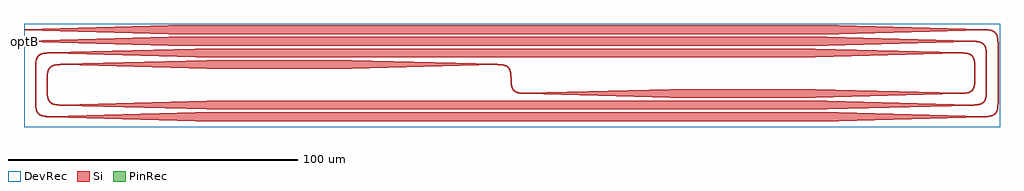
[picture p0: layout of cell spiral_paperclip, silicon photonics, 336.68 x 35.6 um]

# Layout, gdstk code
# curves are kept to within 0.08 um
import gdstk
lib = gdstk.Library(unit=1e-6, precision=1e-09)
def R(c, l, rs):  # rectangles x0, y0, x1, y1
    for r in rs: c.add(gdstk.rectangle(r[:2], r[2:], *l))
def P(c, l, *ps):  # polygons
    for p in ps: c.add(gdstk.Polygon(p, *l))
Si = (1, 0)
PinRec = (1, 10)
DevRec = (68, 0)

spiral_paperclip = lib.new_cell('spiral_paperclip')
R(spiral_paperclip, Si, [(-109,-14.5,113,-11.5), (-105,-10.5,109,-7.5), (55,-6.5,105,-3.5), (-105,3.5,-55,6.5), (-109,7.5,105,10.5), (-118,11.5,109,14.5), (-118,15.5,113,18.5)])
P(spiral_paperclip, Si, [(113,-14.5),(113,-11.5),(163,-12.825),(163,-13.175)],
  [(109,-10.5),(109,-7.5),(159,-8.825),(159,-9.175)],
  [(105,-6.5),(105,-3.5),(155,-4.825),(155,-5.175)],
  [(-55,3.5),(-55,6.5),(-5,5.175),(-5,4.825)],
  [(105,7.5),(105,10.5),(155,9.175),(155,8.825)],
  [(109,11.5),(109,14.5),(159,13.175),(159,12.825)],
  [(113,15.5),(113,18.5),(163,17.175),(163,16.825)],
  [(-109,-14.5),(-159,-13.175),(-159,-12.825),(-109,-11.5)],
  [(-105,-10.5),(-155,-9.175),(-155,-8.825),(-105,-7.5)],
  [(55,-6.5),(5,-5.175),(5,-4.825),(55,-3.5)],
  [(-105,3.5),(-155,4.825),(-155,5.175),(-105,6.5)],
  [(-109,7.5),(-159,8.825),(-159,9.175),(-109,10.5)],
  [(-118,11.5),(-168,12.825),(-168,13.175),(-118,14.5)],
  [(-118,15.5),(-168,16.825),(-168,17.175),(-118,18.5)],
  [(163,-13.175),(163,-12.825),(164.392,-12.772),(165.498,-12.594),(166.339,-12.276),(166.951,-11.797),(167.381,-11.125),(167.627,-10.358),(167.771,-9.393),(167.825,-8),(167.824,12.217),(167.772,13.392),(167.658,14.211),(167.476,14.889),(167.276,15.339),(166.952,15.796),(166.535,16.156),(166.01,16.43),(165.212,16.657),(164.212,16.785),(162.999,16.825),(163.003,17.175),(164.238,17.135),(165.118,17.03),(165.871,16.851),(166.508,16.581),(167.033,16.211),(167.447,15.73),(167.755,15.139),(167.97,14.433),(168.12,13.424),(168.174,12.221),(168.175,-8.003),(168.119,-9.425),(167.933,-10.585),(167.581,-11.508),(167.124,-12.124),(166.507,-12.582),(165.584,-12.934),(164.424,-13.12)],
  [(155,-5.175),(155,-4.825),(156.211,-4.786),(157.211,-4.658),(158.009,-4.431),(158.627,-4.091),(159.023,-3.715),(159.381,-3.125),(159.593,-2.499),(159.733,-1.738),(159.82,-0.43),(159.821,4.429),(159.734,5.737),(159.558,6.633),(159.33,7.233),(159.024,7.714),(158.715,8.023),(158.234,8.329),(157.634,8.557),(156.901,8.711),(154.999,8.825),(155,9.175),(156.782,9.081),(158.008,8.805),(158.836,8.372),(159.212,8.032),(159.447,7.73),(159.852,6.87),(160.058,5.952),(160.166,4.645),(160.173,-0.222),(160.081,-1.782),(159.933,-2.585),(159.643,-3.39),(159.211,-4.033),(158.73,-4.447),(158.007,-4.806),(157.277,-5.002),(156.237,-5.136)],
  [(-155,-9.175),(-156.237,-9.136),(-157.277,-9.002),(-158.007,-8.806),(-158.73,-8.447),(-159.211,-8.033),(-159.643,-7.39),(-159.933,-6.585),(-160.081,-5.782),(-160.173,-4.222),(-160.166,0.645),(-160.058,1.952),(-159.852,2.87),(-159.447,3.73),(-159.212,4.032),(-158.836,4.372),(-158.008,4.805),(-156.782,5.081),(-155,5.175),(-154.999,4.825),(-156.901,4.711),(-157.634,4.557),(-158.234,4.329),(-158.715,4.023),(-159.024,3.714),(-159.33,3.233),(-159.558,2.633),(-159.734,1.737),(-159.821,0.429),(-159.82,-4.43),(-159.733,-5.738),(-159.593,-6.499),(-159.381,-7.125),(-159.023,-7.715),(-158.627,-8.091),(-158.009,-8.431),(-157.211,-8.658),(-156.211,-8.786),(-155,-8.825)],
  [(-159.003,-13.175),(-160.425,-13.119),(-161.585,-12.933),(-162.39,-12.643),(-163.033,-12.211),(-163.517,-11.621),(-163.852,-10.87),(-164.058,-9.952),(-164.166,-8.645),(-164.17,4.436),(-164.101,5.606),(-163.933,6.585),(-163.701,7.267),(-163.446,7.731),(-163.032,8.212),(-162.621,8.517),(-162.007,8.806),(-161.433,8.97),(-160.605,9.102),(-159.645,9.166),(-159,9.175),(-159,8.825),(-160.211,8.786),(-161.211,8.658),(-162.009,8.431),(-162.534,8.157),(-162.876,7.876),(-163.216,7.44),(-163.43,7.01),(-163.627,6.358),(-163.771,5.393),(-163.823,4.218),(-163.816,-8.633),(-163.712,-9.9),(-163.518,-10.764),(-163.217,-11.439),(-162.797,-11.951),(-162.125,-12.381),(-161.358,-12.627),(-160.393,-12.771),(-158.999,-12.825)],
  [(4.997,-5.175),(3.575,-5.119),(2.415,-4.933),(1.492,-4.581),(0.876,-4.124),(0.627,-3.835),(0.356,-3.389),(0.03,-2.433),(-0.136,-1.237),(-0.193,0.833),(-0.289,1.901),(-0.525,2.89),(-0.844,3.535),(-1.286,4.024),(-1.991,4.431),(-2.643,4.628),(-3.263,4.734),(-5,4.825),(-5,5.175),(-3.576,5.12),(-2.416,4.934),(-1.493,4.582),(-0.876,4.124),(-0.628,3.836),(-0.357,3.39),(-0.031,2.434),(0.135,1.238),(0.192,-0.832),(0.288,-1.9),(0.482,-2.764),(0.783,-3.439),(1.285,-4.023),(1.99,-4.43),(2.642,-4.627),(3.262,-4.733),(5.001,-4.825)],
  [(159,-9.175),(158.999,-8.825),(160.393,-8.771),(161.358,-8.627),(162.125,-8.381),(162.797,-7.951),(163.217,-7.439),(163.518,-6.764),(163.712,-5.9),(163.816,-4.633),(163.823,8.218),(163.771,9.393),(163.627,10.358),(163.43,11.01),(163.216,11.44),(162.876,11.876),(162.534,12.157),(162.009,12.431),(161.211,12.658),(160.211,12.786),(159,12.825),(159,13.175),(159.645,13.166),(160.605,13.102),(161.433,12.97),(162.007,12.806),(162.621,12.517),(163.032,12.212),(163.446,11.731),(163.701,11.267),(163.933,10.585),(164.101,9.606),(164.17,8.436),(164.166,-4.645),(164.058,-5.952),(163.852,-6.87),(163.517,-7.621),(163.033,-8.211),(162.39,-8.643),(161.585,-8.933),(160.425,-9.119)])
R(spiral_paperclip, DevRec, [(-168,-16.6,168.675,19)])
spiral_paperclip.add(gdstk.FlexPath([(-167.99,13),(-168.01,13)], 0.35, ends="flush", simple_path=True, layer=1, datatype=10))  # PinRec
spiral_paperclip.add(gdstk.FlexPath([(-167.99,17),(-168.01,17)], 0.35, ends="flush", simple_path=True, layer=1, datatype=10))  # PinRec
spiral_paperclip.add(gdstk.Label('optB', (-168,13), layer=1, texttype=10))
spiral_paperclip.add(gdstk.Label('optA', (-168,17), layer=1, texttype=10))

lib.write_gds('spiral_paperclip.gds')
